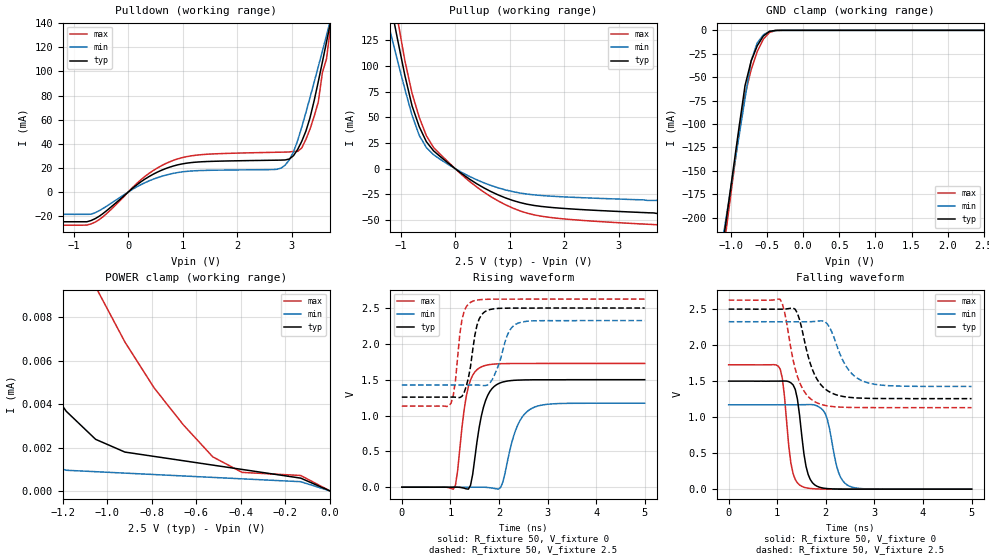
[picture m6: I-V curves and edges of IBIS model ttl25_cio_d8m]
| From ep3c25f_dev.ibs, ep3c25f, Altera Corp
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[Model] ttl25_cio_d8m
Model_type I/O
Polarity Non-Inverting
Enable Active-Low
Vinl  = 0.7V
Vinh  = 1.7V
Vmeas = 1.1625V
Rref  = 10M
Cref  = 0pF
Vref  = 0V
C_comp  4.7pF   4.7pF   4.7pF
[Temperature Range] 25   85   0
[Voltage Range]   2.5   2.325   2.625
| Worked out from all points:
|   slope of the pulldown table from 0 to 0.375 V, typ, clamps not added: 29.6 ohm
|   slope of the pullup table from 0 to 0.375 V, typ, clamps not added: 26.7 ohm
|   GND clamp passes 1 mA (typ) near -0.45 V on its own axis
|   rising waveform, R_fixture 50, V_fixture 0: 20-80 % time 237ps typ, 303ps min, 198ps max; typ from 0 V to 1.5 V
|   falling waveform, R_fixture 50, V_fixture 0: 20-80 % time 174ps typ, 218ps min, 153ps max; typ from 1.5 V to 0 V
|   rising waveform, R_fixture 50, V_fixture 2.5: 20-80 % time 181ps typ, 256ps min, 144ps max; typ from 1.26 V to 2.5 V
|   falling waveform, R_fixture 50, V_fixture 2.5: 20-80 % time 340ps typ, 387ps min, 305ps max; typ from 2.5 V to 1.26 V
[GND Clamp]
| voltage   I (typ)   I (min)   I (max)
-2.5V     -1.003A    -896.6mA   -1.061A
-1.144V   -246.2mA   -237.3mA   -259.1mA
-1.059V   -198.9mA   -196.1mA   -209mA
-974.6mV  -151.6mA   -154.9mA   -158.9mA
-889.8mV  -104.3mA   -113.6mA   -108.8mA
-805.1mV  -58.87mA   -72.41mA   -68.82mA
-720.3mV  -32.71mA   -32.28mA   -41.9mA
-635.6mV  -16.39mA   -13.32mA   -22.54mA
-550.8mV  -6.002mA   -4.742mA   -9.332mA
-466.1mV  -1.154mA   -978.7uA   -2.246mA
-296.6mV  -4.684uA   -8.884uA   -9.494uA
2.5V      0A         0A         0A
[Pulldown]
| voltage   I (typ)   I (min)   I (max)
-2.5V     -24.64mA   -18.49mA   -27.47mA
-757.6mV  -24.64mA   -18.49mA   -27.35mA
303mV     10.64mA    7.672mA    12.79mA
833.3mV   21.66mA    15.56mA    26.37mA
2.803V    26.47mA    19.83mA    33.06mA
3.03V     30.16mA    33.2mA     33.71mA
3.258V    50.45mA    65.89mA    43.6mA
3.485V    91.45mA    103.9mA    74.58mA
3.561V    107.8mA    116.9mA    99.07mA
3.636V    124.5mA    130mA      110.5mA
3.712V    141.2mA    143.1mA    137.6mA
5V        412.7mA    367.4mA    453.4mA
[POWER Clamp]
| voltage   I (typ)   I (min)   I (max)
-2.5V     124.1uA    71.36uA    181.7uA
-1.842V   22.85uA    9.498uA    53.98uA
-1.579V   12.21uA    4.121uA    28.45uA
-1.447V   8.385uA    2.418uA    21.97uA
-1.316V   5.568uA    1.354uA    16.64uA
-1.184V   3.666uA    951.8nA    12.52uA
-1.053V   2.377uA    886nA      9.404uA
-789.5mV  1.589uA    754.4nA    4.74uA
-526.3mV  1.189uA    622.9nA    1.568uA
-394.7mV  989.5nA    557.1nA    853.5nA
-131.6mV  589.5nA    425.3nA    711.3nA
0V        0A         0A         0A
[Pullup]
| voltage   I (typ)   I (min)   I (max)
-2.5V     514.9mA    417.1mA    597.8mA
-1.316V   196.1mA    160.6mA    227.2mA
-1.184V   160.6mA    132.3mA    186mA
-1.053V   125.2mA    104.5mA    144.8mA
-789.5mV  61.13mA    52.02mA    73.34mA
-657.9mV  40.89mA    32.37mA    49.98mA
-526.3mV  26.13mA    20.46mA    31.94mA
-394.7mV  17.3mA     13.47mA    20.5mA
131.6mV   -5.327mA   -3.973mA   -6.441mA
921.1mV   -28.48mA   -20.71mA   -35.15mA
1.974V    -38.74mA   -27.49mA   -48.91mA
5V        -44.1mA    -31mA      -56mA
[Ramp]
dV/dt_r   9.000e-001/2.372e-010  7.032e-001/3.031e-010  1.036e+000/1.980e-010
dV/dt_f   7.458e-001/3.404e-010  5.394e-001/3.874e-010  8.958e-001/3.052e-010
R_load = 50ohms
[Rising Waveform]
R_fixture   = 50
V_fixture   = 0
V_fixture_min = 0
V_fixture_max = 0
| time   V (typ)   V (min)   V (max)
0s        0V         0V         0V
1.06ns    558.8uV    -201.3uV   -27.32mV
1.149ns   711uV      -152uV     227.7mV
1.282ns   -13.34mV   -180.6uV   1.074V
1.415ns   26.64mV    -189uV     1.496V
1.636ns   989.9mV    1.033mV    1.679V
2.035ns   1.458V     -2.075mV   1.723V
2.345ns   1.492V     799.7mV    1.726V
2.699ns   1.499V     1.108V     1.726V
5ns       1.5V       1.172V     1.727V
[Falling Waveform]
R_fixture   = 50
V_fixture   = 0
V_fixture_min = 0
V_fixture_max = 0
| time   V (typ)   V (min)   V (max)
0s        1.5V       1.172V     1.727V
1.06ns    1.501V     1.172V     1.669V
1.282ns   1.476V     1.172V     357.7mV
1.415ns   1.251V     1.172V     86.84mV
1.503ns   750.8mV    1.173V     39.57mV
1.725ns   88.95mV    1.173V     7.007mV
1.991ns   10.78mV    1.045V     986.5uV
2.256ns   1.553mV    241.1mV    139.3uV
2.478ns   309.3uV    44.2mV     25.83uV
5ns       1.295uV    969nV      781.5nV
[Rising Waveform]
R_fixture   = 50
V_fixture   = 2.5
V_fixture_min = 2.325
V_fixture_max = 2.625
| time   V (typ)   V (min)   V (max)
0s        1.257V     1.426V     1.132V
1.016ns   1.257V     1.426V     1.175V
1.104ns   1.256V     1.426V     1.487V
1.237ns   1.267V     1.426V     2.333V
1.459ns   1.912V     1.426V     2.595V
1.548ns   2.26V      1.426V     2.611V
1.68ns    2.433V     1.418V     2.62V
1.858ns   2.485V     1.497V     2.623V
2.389ns   2.499V     2.288V     2.624V
5ns       2.5V       2.325V     2.625V
[Falling Waveform]
R_fixture   = 50
V_fixture   = 2.5
V_fixture_min = 2.325
V_fixture_max = 2.625
| time   V (typ)   V (min)   V (max)
0s        2.5V       2.325V     2.625V
1.06ns    2.499V     2.324V     2.635V
1.149ns   2.5V       2.324V     2.465V
1.415ns   2.442V     2.324V     1.566V
1.636ns   1.844V     2.324V     1.286V
1.813ns   1.532V     2.332V     1.2V
2.035ns   1.367V     2.291V     1.157V
2.389ns   1.283V     1.738V     1.137V
2.744ns   1.264V     1.506V     1.133V
5ns       1.257V     1.426V     1.132V
